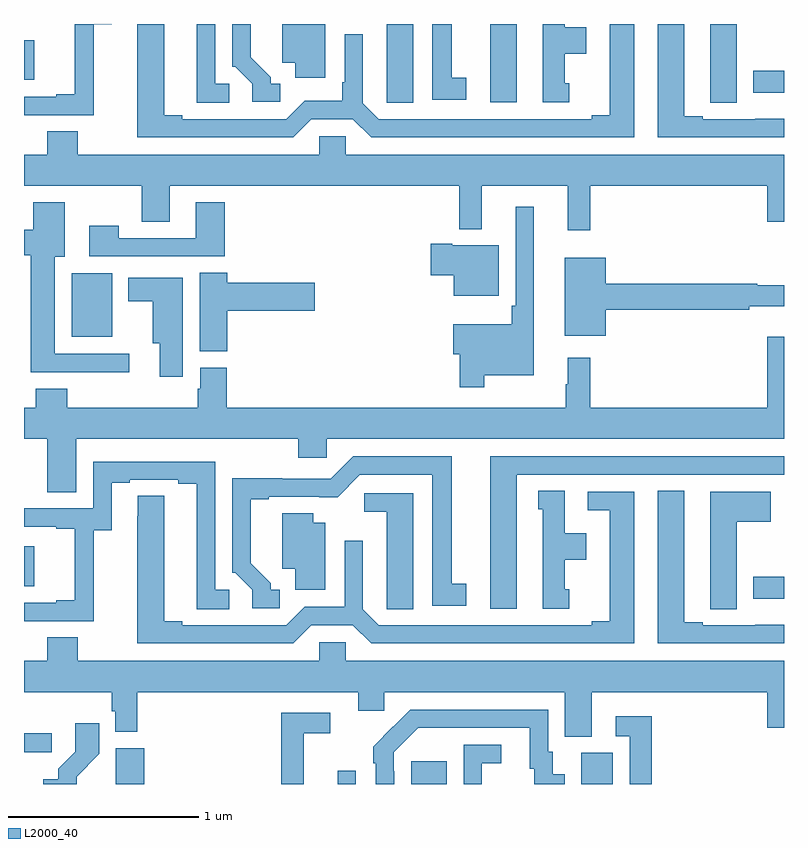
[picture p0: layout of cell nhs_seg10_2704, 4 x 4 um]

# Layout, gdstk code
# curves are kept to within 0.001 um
import gdstk
lib = gdstk.Library(unit=1e-6, precision=1e-09)
def R(c, l, rs):  # rectangles x0, y0, x1, y1
    for r in rs: c.add(gdstk.rectangle(r[:2], r[2:], *l))
def P(c, l, *ps):  # polygons
    for p in ps: c.add(gdstk.Polygon(p, *l))
L2000_40 = (2000, 40)

nhs_seg10_2704 = lib.new_cell('nhs_seg10_2704')
R(nhs_seg10_2704, L2000_40, [(257.483,1298.5,257.633,1298.689), (258.651,1298.5,258.747,1298.569), (259.037,1298.5,259.225,1298.62), (259.934,1298.5,260.098,1298.664), (257,1298.667,257.146,1298.766), (260.837,1299.474,261,1299.591), (257,1299.542,257.053,1299.751), (257.252,1300.853,257.464,1301.188), (259.454,1302.087,259.594,1302.5), (260.837,1302.138,261,1302.255), (257,1302.206,257.053,1302.415)])
P(nhs_seg10_2704, L2000_40, [(259.327,1302.218),(259.252,1302.218),(259.252,1302.5),(259.148,1302.5),(259.148,1302.102),(259.327,1302.102)],
  [(258.513,1302),(258.731,1302),(258.827,1301.904),(260.212,1301.904),(260.212,1302.5),(260.084,1302.5),(260.084,1302.02),(259.988,1302.02),(259.988,1302),(258.867,1302),(258.783,1302.084),(258.783,1302.445),(258.687,1302.445),(258.687,1302.193),(258.675,1302.193),(258.675,1302.096),(258.477,1302.096),(258.381,1302),(257.833,1302),(257.833,1302.02),(257.737,1302.02),(257.737,1302.5),(257.597,1302.5),(257.597,1301.904),(258.417,1301.904)],
  [(259.048,1302.5),(258.908,1302.5),(258.908,1302.193),(258.909,1302.193),(258.909,1302.085),(259.048,1302.085)],
  [(258.079,1302.186),(258.006,1302.186),(258.006,1302.5),(257.909,1302.5),(257.909,1302.085),(258.079,1302.085)],
  [(257.367,1302.499),(257.461,1302.499),(257.461,1302.5),(257.267,1302.5),(257.267,1302.13),(257.171,1302.13),(257.171,1302.117),(257,1302.117),(257,1302.021),(257.367,1302.021)],
  [(261,1302.001),(260.848,1302.001),(260.848,1302),(260.572,1302),(260.572,1302.015),(260.476,1302.015),(260.476,1302.5),(260.336,1302.5),(260.336,1301.904),(261,1301.904)],
  [(258.586,1302.5),(258.359,1302.5),(258.359,1302.296),(258.428,1302.296),(258.428,1302.216),(258.586,1302.216)],
  [(258.349,1302.186),(258.298,1302.186),(258.298,1302.221),(258.193,1302.326),(258.193,1302.5),(258.096,1302.5),(258.096,1302.276),(258.111,1302.276),(258.201,1302.186),(258.201,1302.09),(258.349,1302.09)],
  [(260.752,1302.5),(260.612,1302.5),(260.612,1302.193),(260.613,1302.193),(260.613,1302.085),(260.752,1302.085)],
  [(259.87,1302.189),(259.846,1302.189),(259.846,1302.344),(259.96,1302.344),(259.96,1302.484),(259.846,1302.484),(259.846,1302.5),(259.73,1302.5),(259.73,1302.087),(259.87,1302.087)],
  [(259.979,1301.648),(260.912,1301.648),(260.912,1301.46),(261,1301.46),(261,1301.812),(258.693,1301.812),(258.693,1301.91),(258.555,1301.91),(258.555,1301.812),(257.283,1301.812),(257.283,1301.936),(257.123,1301.936),(257.123,1301.812),(257,1301.812),(257,1301.648),(257.62,1301.648),(257.62,1301.458),(257.767,1301.458),(257.767,1301.648),(259.291,1301.648),(259.291,1301.42),(259.409,1301.42),(259.409,1301.648),(259.862,1301.648),(259.862,1301.415),(259.979,1301.415)],
  [(257.554,1300.764),(257.161,1300.764),(257.161,1301.276),(257.215,1301.276),(257.215,1301.563),(257.048,1301.563),(257.048,1301.416),(257,1301.416),(257,1301.282),(257.036,1301.282),(257.036,1300.667),(257.554,1300.667)],
  [(258.056,1301.563),(257.903,1301.563),(257.903,1301.373),(257.499,1301.373),(257.499,1301.437),(257.343,1301.437),(257.343,1301.277),(258.056,1301.277)],
  [(259.423,1300.652),(259.684,1300.652),(259.684,1301.539),(259.587,1301.539),(259.587,1301.017),(259.567,1301.017),(259.567,1300.921),(259.26,1300.921),(259.26,1300.763),(259.294,1300.763),(259.294,1300.587),(259.423,1300.587)],
  [(259.498,1301.335),(259.255,1301.335),(259.255,1301.343),(259.142,1301.343),(259.142,1301.177),(259.262,1301.177),(259.262,1301.069),(259.498,1301.069)],
  [(260.062,1300.996),(260.816,1300.996),(260.816,1301.015),(261,1301.015),(261,1301.125),(260.858,1301.125),(260.858,1301.132),(260.062,1301.132),(260.062,1301.269),(259.847,1301.269),(259.847,1300.859),(260.062,1300.859)],
  [(258.071,1300.991),(258.529,1300.991),(258.529,1301.138),(258.071,1301.138),(258.071,1301.192),(257.924,1301.192),(257.924,1300.777),(258.071,1300.777)],
  [(257.836,1301.164),(257.549,1301.164),(257.549,1301.042),(257.678,1301.042),(257.678,1300.82),(257.714,1300.82),(257.714,1300.644),(257.836,1300.644)],
  [(257.275,1300.316),(258.443,1300.316),(258.443,1300.218),(258.594,1300.218),(258.594,1300.316),(261,1300.316),(261,1300.855),(260.912,1300.855),(260.912,1300.48),(259.979,1300.48),(259.979,1300.744),(259.862,1300.744),(259.862,1300.604),(259.851,1300.604),(259.851,1300.48),(258.068,1300.48),(258.068,1300.692),(257.927,1300.692),(257.927,1300.581),(257.915,1300.581),(257.915,1300.48),(257.228,1300.48),(257.228,1300.579),(257.063,1300.579),(257.063,1300.48),(257,1300.48),(257,1300.316),(257.123,1300.316),(257.123,1300.036),(257.275,1300.036)],
  [(258.347,1299.522),(258.298,1299.522),(258.298,1299.557),(258.193,1299.662),(258.193,1299.999),(258.289,1299.999),(258.289,1300.011),(258.65,1300.01),(258.768,1300.128),(259.148,1300.128),(259.148,1299.438),(259.327,1299.438),(259.327,1299.554),(259.252,1299.554),(259.252,1300.224),(258.732,1300.224),(258.615,1300.107),(258.359,1300.107),(258.359,1300.109),(258.096,1300.109),(258.096,1299.612),(258.111,1299.612),(258.201,1299.522),(258.201,1299.426),(258.347,1299.426)],
  [(259.594,1300.128),(261,1300.128),(261,1300.224),(259.454,1300.224),(259.454,1299.423),(259.594,1299.423)],
  [(257.367,1299.835),(257.461,1299.835),(257.461,1300.086),(257.557,1300.086),(257.557,1300.101),(257.813,1300.101),(257.813,1300.081),(257.909,1300.081),(257.909,1299.421),(258.079,1299.421),(258.079,1299.522),(258.006,1299.522),(258.006,1300.197),(257.364,1300.197),(257.364,1299.951),(257,1299.951),(257,1299.855),(257.171,1299.855),(257.171,1299.843),(257.267,1299.843),(257.267,1299.466),(257.171,1299.466),(257.171,1299.453),(257,1299.453),(257,1299.357),(257.367,1299.357)],
  [(259.87,1299.525),(259.846,1299.525),(259.846,1299.68),(259.96,1299.68),(259.96,1299.82),(259.846,1299.82),(259.846,1300.043),(259.706,1300.043),(259.706,1299.945),(259.73,1299.945),(259.73,1299.423),(259.87,1299.423)],
  [(261,1299.337),(260.848,1299.337),(260.848,1299.336),(260.572,1299.336),(260.572,1299.351),(260.476,1299.351),(260.476,1300.043),(260.336,1300.043),(260.336,1299.24),(261,1299.24)],
  [(260.752,1299.88),(260.929,1299.88),(260.929,1300.039),(260.612,1300.039),(260.612,1299.529),(260.613,1299.529),(260.613,1299.421),(260.752,1299.421)],
  [(258.513,1299.336),(258.731,1299.336),(258.827,1299.24),(260.212,1299.24),(260.212,1300.038),(259.968,1300.038),(259.968,1299.942),(260.084,1299.942),(260.084,1299.356),(259.988,1299.356),(259.988,1299.336),(258.867,1299.336),(258.783,1299.42),(258.783,1299.781),(258.687,1299.781),(258.687,1299.432),(258.477,1299.432),(258.381,1299.336),(257.833,1299.336),(257.833,1299.356),(257.737,1299.356),(257.737,1300.016),(257.598,1300.016),(257.597,1299.24),(258.417,1299.24)],
  [(259.048,1300.029),(258.791,1300.029),(258.791,1299.932),(258.908,1299.932),(258.908,1299.529),(258.909,1299.529),(258.909,1299.421),(259.048,1299.421)],
  [(258.586,1299.874),(258.523,1299.874),(258.523,1299.926),(258.359,1299.926),(258.359,1299.632),(258.428,1299.632),(258.428,1299.522),(258.586,1299.522)],
  [(259.987,1298.984),(260.912,1298.984),(260.912,1298.796),(261,1298.796),(261,1299.148),(258.693,1299.148),(258.693,1299.246),(258.555,1299.246),(258.555,1299.148),(257.283,1299.148),(257.283,1299.272),(257.123,1299.272),(257.123,1299.148),(257,1299.148),(257,1298.984),(257.461,1298.984),(257.461,1298.883),(257.481,1298.883),(257.481,1298.774),(257.597,1298.774),(257.597,1298.984),(258.758,1298.984),(258.758,1298.886),(258.897,1298.886),(258.897,1298.984),(259.847,1298.984),(259.847,1298.749),(259.987,1298.749)],
  [(258.948,1298.567),(258.945,1298.567),(258.945,1298.667),(259.074,1298.796),(259.661,1298.796),(259.661,1298.58),(259.685,1298.58),(259.685,1298.5),(259.846,1298.5),(259.846,1298.551),(259.783,1298.551),(259.783,1298.67),(259.758,1298.67),(259.758,1298.892),(259.034,1298.892),(258.837,1298.697),(258.837,1298.609),(258.852,1298.609),(258.852,1298.5),(258.948,1298.5)],
  [(258.473,1298.766),(258.613,1298.766),(258.613,1298.874),(258.355,1298.874),(258.355,1298.5),(258.473,1298.5)],
  [(260.303,1298.857),(260.115,1298.857),(260.115,1298.751),(260.187,1298.751),(260.187,1298.5),(260.303,1298.5)],
  [(257.277,1298.539),(257.396,1298.658),(257.396,1298.821),(257.271,1298.821),(257.271,1298.669),(257.18,1298.579),(257.18,1298.524),(257.1,1298.524),(257.1,1298.5),(257.277,1298.5)],
  [(259.41,1298.61),(259.513,1298.61),(259.513,1298.706),(259.314,1298.706),(259.314,1298.5),(259.41,1298.5)])

lib.write_gds('nhs_seg10_2704.gds')
